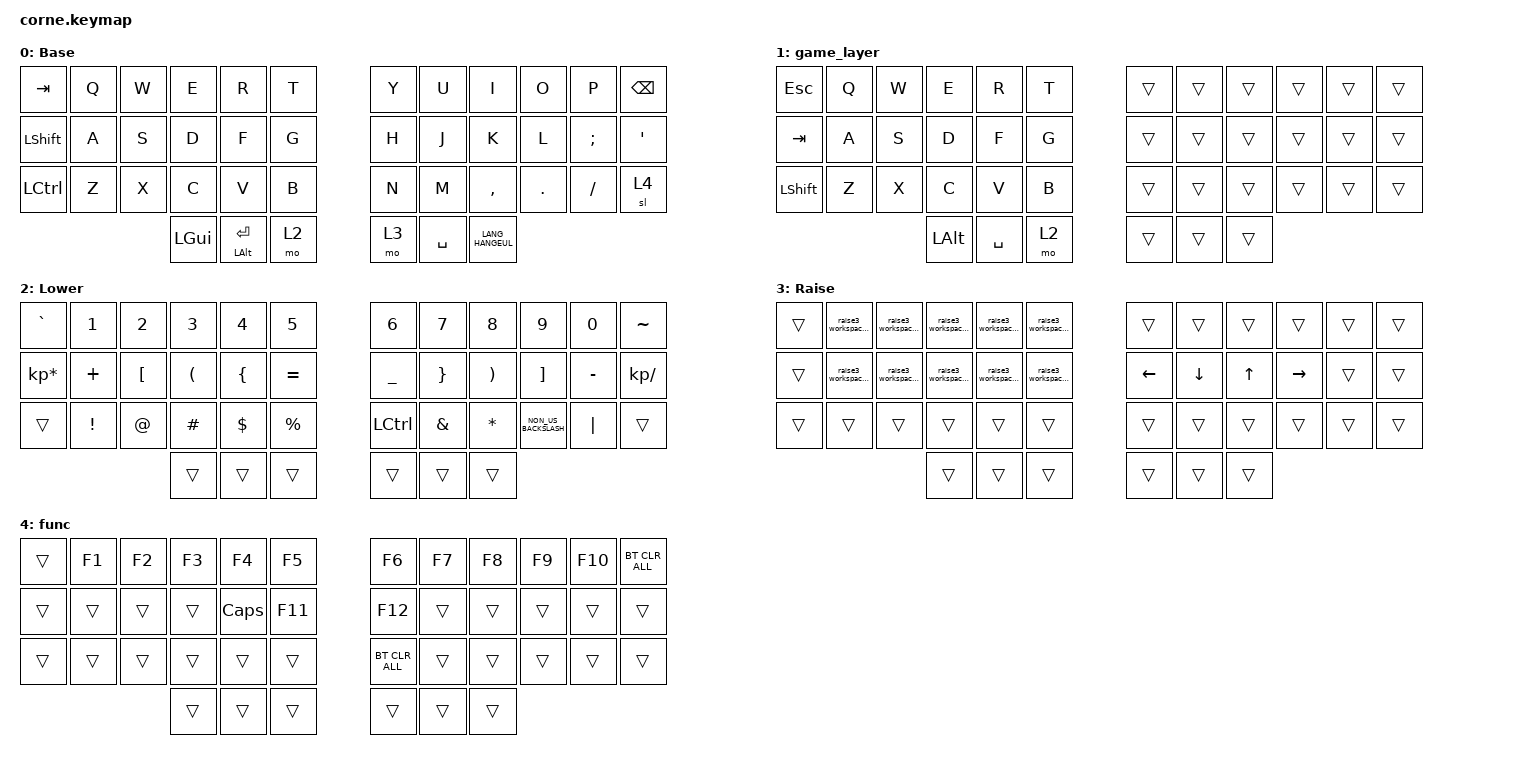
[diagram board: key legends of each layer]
/*
 * Copyright (c) 2020 The ZMK Contributors
 *
 * SPDX-License-Identifier: MIT
 */

#include <behaviors.dtsi>
#include <dt-bindings/zmk/bt.h>
#include <dt-bindings/zmk/keys.h>

/ {
    behaviors {
        holdtap: holdtap {
            compatible = "zmk,behavior-hold-tap";
            label = "HOLDTAP";
            bindings = <&kp>, <&kp>;

            #binding-cells = <2>;
            tapping-term-ms = <200>;
            flavor = "tap-preferred";
        };
    };

    combos {
        compatible = "zmk,combos";

        del {
            bindings = <&kp DELETE>;
            key-positions = <11 23>;
            layers = <0>;
        };

        esc {
            bindings = <&kp ESCAPE>;
            key-positions = <36 41>;
        };

        to_game_layer {
            bindings = <&to 1>;
            key-positions = <38 17>;
        };

        to_default_layer {
            bindings = <&to 0>;
            key-positions = <38 16>;
        };

        game_map {
            bindings = <&kp M>;
            key-positions = <17 29>;
            layers = <1>;
        };

        game_capslock {
            bindings = <&kp CAPSLOCK>;
            key-positions = <26 27>;
            layers = <1>;
        };

        game_n {
            bindings = <&kp N>;
            key-positions = <28 29>;
            layers = <1>;
        };
    };

    macros {
        raise3_workspace_1: layer3_workspace {
            compatible = "zmk,behavior-macro";
            #binding-cells = <0>;
            bindings =
                <&macro_press>,
                <&kp LEFT_GUI>,
                <&macro_tap>,
                <&kp NUMBER_1>,
                <&macro_release>,
                <&kp LEFT_GUI>;

            label = "LAYER3_WORKSPACE";
        };

        raise3_workspace_2: raise3_workspace_2 {
            compatible = "zmk,behavior-macro";
            #binding-cells = <0>;
            bindings =
                <&macro_press>,
                <&kp LEFT_GUI>,
                <&macro_tap>,
                <&kp NUMBER_2>,
                <&macro_release>,
                <&kp LEFT_GUI>;

            label = "RAISE3_WORKSPACE_2";
        };

        raise3_workspace_3: raise3_workspace_3 {
            compatible = "zmk,behavior-macro";
            #binding-cells = <0>;
            bindings =
                <&macro_press>,
                <&kp LEFT_GUI>,
                <&macro_tap>,
                <&kp NUMBER_3>,
                <&macro_release>,
                <&kp LEFT_GUI>;

            label = "RAISE3_WORKSPACE_3";
        };

        raise3_workspace_4: raise3_workspace_4 {
            compatible = "zmk,behavior-macro";
            #binding-cells = <0>;
            bindings =
                <&macro_press>,
                <&kp LEFT_GUI>,
                <&macro_tap>,
                <&kp NUMBER_4>,
                <&macro_release>,
                <&kp LEFT_GUI>;

            label = "RAISE3_WORKSPACE_4";
        };

        raise3_workspace_5: raise3_workspace_5 {
            compatible = "zmk,behavior-macro";
            #binding-cells = <0>;
            bindings =
                <&macro_press>,
                <&kp LEFT_GUI>,
                <&macro_tap>,
                <&kp N5>,
                <&macro_release>,
                <&kp LEFT_GUI>;

            label = "RAISE3_WORKSPACE_5";
        };

        raise3_workspace_6: raise3_workspace_6 {
            compatible = "zmk,behavior-macro";
            #binding-cells = <0>;
            bindings =
                <&macro_press>,
                <&kp LEFT_GUI>,
                <&macro_tap>,
                <&kp NUMBER_6>,
                <&macro_release>,
                <&kp LEFT_GUI>;

            label = "RAISE3_WORKSPACE_6";
        };

        raise3_workspace_7: raise3_workspace_7 {
            compatible = "zmk,behavior-macro";
            #binding-cells = <0>;
            bindings =
                <&macro_press>,
                <&kp LEFT_GUI>,
                <&macro_tap>,
                <&kp N7>,
                <&macro_release>,
                <&kp LEFT_GUI>;

            label = "RAISE3_WORKSPACE_7";
        };

        raise3_workspace_8: raise3_workspace_8 {
            compatible = "zmk,behavior-macro";
            #binding-cells = <0>;
            bindings =
                <&macro_press>,
                <&kp LEFT_GUI>,
                <&macro_tap>,
                <&kp N8>,
                <&macro_release>,
                <&kp LEFT_GUI>;

            label = "RAISE3_WORKSPACE_8";
        };

        raise3_workspace_9: raise3_workspace_9 {
            compatible = "zmk,behavior-macro";
            #binding-cells = <0>;
            bindings =
                <&macro_press>,
                <&kp LEFT_GUI>,
                <&macro_tap>,
                <&kp N9>,
                <&macro_release>,
                <&kp LEFT_GUI>;

            label = "RAISE3_WORKSPACE_9";
        };

        raise3_workspace_0: raise3_workspace_0 {
            compatible = "zmk,behavior-macro";
            #binding-cells = <0>;
            bindings =
                <&macro_press>,
                <&kp LEFT_GUI>,
                <&macro_tap>,
                <&kp N0>,
                <&macro_release>,
                <&kp LEFT_GUI>;

            label = "RAISE3_WORKSPACE_0";
        };
    };

    keymap {
        compatible = "zmk,keymap";

        default_layer {
            // -----------------------------------------------------------------------------------------
            // |  TAB |  Q  |  W  |  E  |  R  |  T  |   |  Y  |  U   |  I  |  O  |  P  | BKSP |
            // | CTRL |  A  |  S  |  D  |  F  |  G  |   |  H  |  J   |  K  |  L  |  ;  |  '   |
            // | SHFT |  Z  |  X  |  C  |  V  |  B  |   |  N  |  M   |  ,  |  .  |  /  | ESC  |
            //                    | GUI | LWR | SPC |   | ENT | RSE  | ALT |

            display-name = "Base";
            bindings = <
&kp TAB           &kp Q  &kp W  &kp E         &kp R                    &kp T    &kp Y  &kp U      &kp I             &kp O    &kp P     &kp BSPC
&kp LEFT_SHIFT    &kp A  &kp S  &kp D         &kp F                    &kp G    &kp H  &kp J      &kp K             &kp L    &kp SEMI  &kp SQT
&kp LEFT_CONTROL  &kp Z  &kp X  &kp C         &kp V                    &kp B    &kp N  &kp M      &kp COMMA         &kp DOT  &kp FSLH  &sl 4
                                &kp LEFT_GUI  &holdtap LEFT_ALT ENTER  &mo 2    &mo 3  &kp SPACE  &kp LANG_HANGEUL
            >;
        };

        game_layer {
            bindings = <
&kp ESC    &kp Q  &kp W  &kp E     &kp R      &kp T    &trans  &trans  &trans  &trans  &trans  &trans
&kp TAB    &kp A  &kp S  &kp D     &kp F      &kp G    &trans  &trans  &trans  &trans  &trans  &trans
&kp LSHFT  &kp Z  &kp X  &kp C     &kp V      &kp B    &trans  &trans  &trans  &trans  &trans  &trans
                         &kp LALT  &kp SPACE  &mo 2    &trans  &trans  &trans
            >;
        };

        lower_layer {
            // -----------------------------------------------------------------------------------------
            // |  TAB |  1  |  2  |  3  |  4  |  5  |   |  6  |  7  |  8  |  9  |  0  | BKSP |
            // | BTCLR| BT1 | BT2 | BT3 | BT4 | BT5 |   | LFT | DWN |  UP | RGT |     |      |
            // | SHFT |     |     |     |     |     |   |     |     |     |     |     |      |
            //                    | GUI |     | SPC |   | ENT |     | ALT |

            display-name = "Lower";
            bindings = <
&kp GRAVE        &kp N1           &kp N2            &kp N3                &kp N4          &kp N5         &kp N6          &kp N7           &kp N8                 &kp N9                &kp N0     &kp TILDE
&kp KP_ASTERISK  &kp PLUS         &kp LEFT_BRACKET  &kp LEFT_PARENTHESIS  &kp LEFT_BRACE  &kp EQUAL      &kp UNDERSCORE  &kp RIGHT_BRACE  &kp RIGHT_PARENTHESIS  &kp RIGHT_BRACKET     &kp MINUS  &kp KP_DIVIDE
&trans           &kp EXCLAMATION  &kp AT_SIGN       &kp HASH              &kp DOLLAR      &kp PERCENT    &kp LCTRL       &kp AMPERSAND    &kp ASTERISK           &kp NON_US_BACKSLASH  &kp PIPE   &trans
                                                    &trans                &trans          &trans         &trans          &trans           &trans
            >;
        };

        raise_layer {
            // -----------------------------------------------------------------------------------------
            // |  TAB |  !  |  @  |  #  |  $  |  %  |   |  ^  |  &  |  *  |  (  |  )  | BKSP |
            // | CTRL |     |     |     |     |     |   |  -  |  =  |  [  |  ]  |  \  |  `   |
            // | SHFT |     |     |     |     |     |   |  _  |  +  |  {  |  }  | "|" |  ~   |
            //                    | GUI |     | SPC |   | ENT |     | ALT |

            display-name = "Raise";
            bindings = <
&trans  &raise3_workspace_1  &raise3_workspace_2  &raise3_workspace_3  &raise3_workspace_4  &raise3_workspace_5    &trans    &trans    &trans  &trans     &trans  &trans
&trans  &raise3_workspace_6  &raise3_workspace_7  &raise3_workspace_8  &raise3_workspace_9  &raise3_workspace_0    &kp LEFT  &kp DOWN  &kp UP  &kp RIGHT  &trans  &trans
&trans  &trans               &trans               &trans               &trans               &trans                 &trans    &trans    &trans  &trans     &trans  &trans
                                                  &trans               &trans               &trans                 &trans    &trans    &trans
            >;
        };

        func {
            bindings = <
&trans  &kp F1  &kp F2  &kp F3  &kp F4        &kp F5     &kp F6          &kp F7  &kp F8  &kp F9  &kp F10  &bt BT_CLR_ALL
&trans  &trans  &trans  &trans  &kp CAPSLOCK  &kp F11    &kp F12         &trans  &trans  &trans  &trans   &trans
&trans  &trans  &trans  &trans  &trans        &trans     &bt BT_CLR_ALL  &trans  &trans  &trans  &trans   &trans
                        &trans  &trans        &trans     &trans          &trans  &trans
            >;
        };
    };
};
